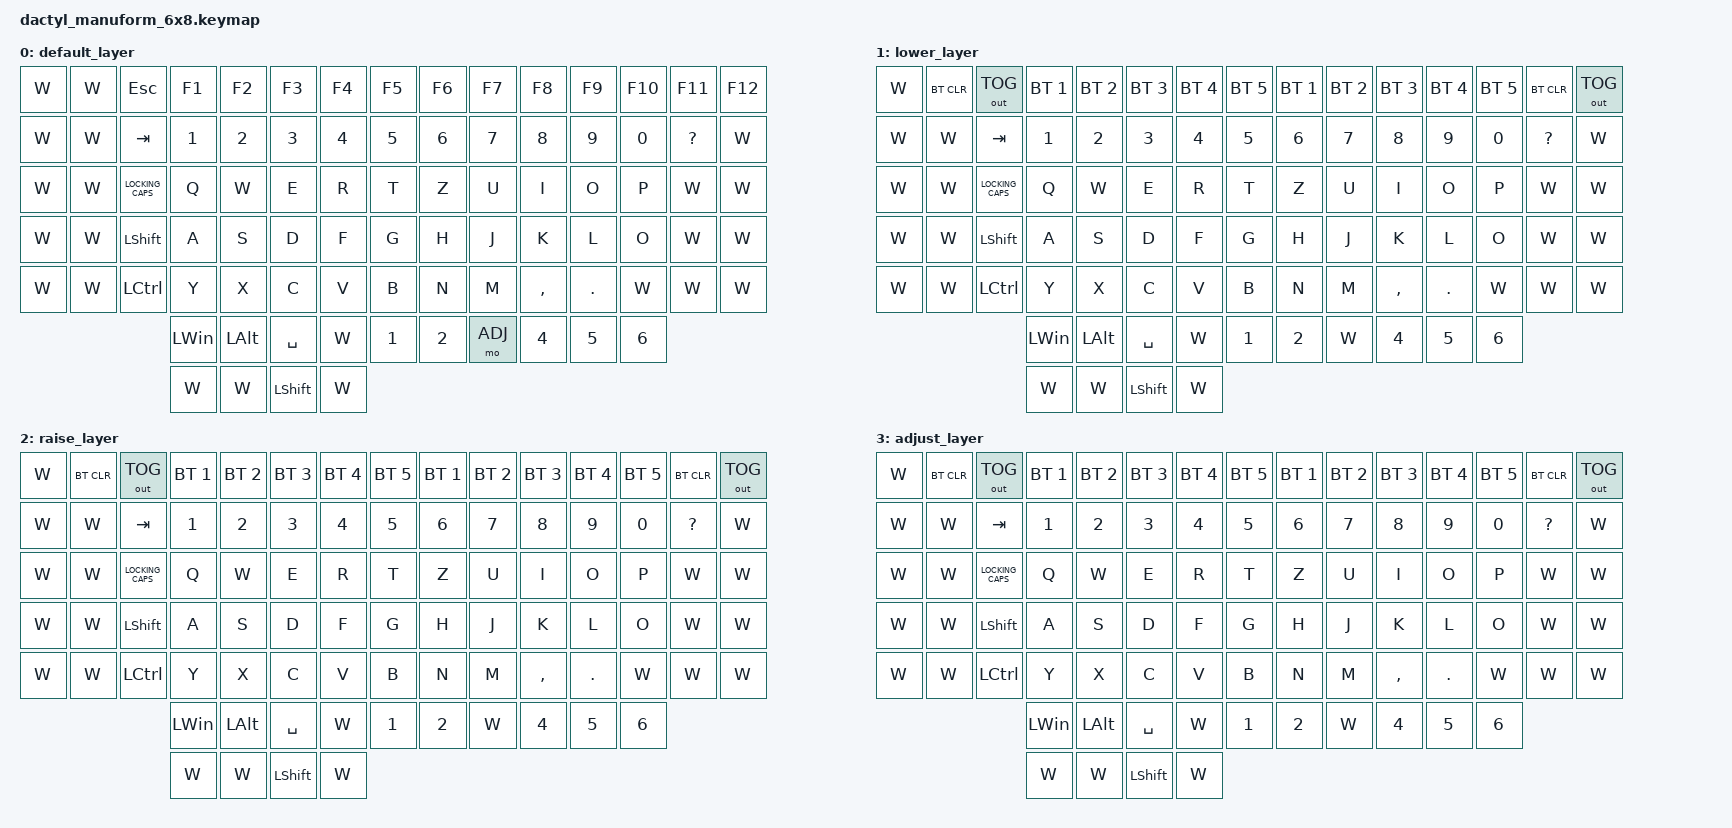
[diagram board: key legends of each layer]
#include <behaviors.dtsi>
#include <dt-bindings/zmk/keys.h>
#include <dt-bindings/zmk/bt.h>
#include <dt-bindings/zmk/outputs.h>

#define DEFAULT 0
#define LWR 1
#define RSE 2
#define ADJ 3

/ {
    keymap {
        compatible = "zmk,keymap";

        default_layer {
            bindings = <
				&kp W           &kp W 		    &kp ESC				&kp F1 		    &kp F2 		    &kp F3 		    &kp F4 		    &kp F5             	&kp F6	 	    &kp F7 		    &kp F8 		    &kp F9 		    &kp F10         &kp F11     &kp F12
				&kp W           &kp W 		    &kp TAB 			&kp N1 		    &kp N2 		    &kp N3 		    &kp N4 		    &kp N5             	&kp N6 		    &kp N7 		    &kp N8 		    &kp N9 		    &kp N0 		    &kp QMARK   &kp W
                &kp W           &kp W 		    &kp LOCKING_CAPS	&kp Q 		    &kp W 		    &kp E 		    &kp R 		    &kp T  	         	&kp Z 		    &kp U 		    &kp I 		    &kp O 		    &kp P 		    &kp W 		&kp W
                &kp W           &kp W 		    &kp LSHIFT			&kp A	 	    &kp S 		    &kp D 		    &kp F 		    &kp G            	&kp H 		    &kp J 		    &kp K  		    &kp L 		    &kp O 		    &kp W	 	&kp W
                &kp W           &kp W 		    &kp LCTRL			&kp Y 	 	    &kp X 		    &kp C		    &kp V	 	    &kp B            	&kp N 		    &kp M 		    &kp COMMA	    &kp DOT		    &kp W	 	    &kp W	 	&kp W
                                                                    &kp LWIN 	    &kp LALT 	    &kp SPACE 	    &kp W           &kp N1 		        &kp N2 		    &mo ADJ         &kp N4          &kp N5 		    &kp N6 
																	&kp W 		    &kp W	        &kp LSHIFT 	    &kp W        	 			    	 			
            >;
        };

        lower_layer {
            bindings = <
				&kp W           &bt BT_CLR      &out OUT_TOG        &bt BT_SEL 1    &bt BT_SEL 2    &bt BT_SEL 3    &bt BT_SEL 4    &bt BT_SEL 5        &bt BT_SEL 1    &bt BT_SEL 2    &bt BT_SEL 3    &bt BT_SEL 4    &bt BT_SEL 5    &bt BT_CLR  &out OUT_TOG
				&kp W           &kp W 		    &kp TAB 			&kp N1 		    &kp N2 		    &kp N3 		    &kp N4 		    &kp N5             	&kp N6 		    &kp N7 		    &kp N8 		    &kp N9 		    &kp N0 		    &kp QMARK   &kp W
                &kp W           &kp W 		    &kp LOCKING_CAPS	&kp Q 		    &kp W 		    &kp E 		    &kp R 		    &kp T  	         	&kp Z 		    &kp U 		    &kp I 		    &kp O 		    &kp P 		    &kp W 		&kp W
                &kp W           &kp W 		    &kp LSHIFT			&kp A	 	    &kp S 		    &kp D 		    &kp F 		    &kp G            	&kp H 		    &kp J 		    &kp K  		    &kp L 		    &kp O 		    &kp W	 	&kp W
                &kp W           &kp W 		    &kp LCTRL			&kp Y 	 	    &kp X 		    &kp C		    &kp V	 	    &kp B            	&kp N 		    &kp M 		    &kp COMMA	    &kp DOT		    &kp W	 	    &kp W	 	&kp W
                                                                    &kp LWIN 	    &kp LALT 	    &kp SPACE 	    &kp W           &kp N1 		        &kp N2 		    &kp W           &kp N4          &kp N5 		    &kp N6 
																	&kp W 		    &kp W	        &kp LSHIFT 	    &kp W                
            >;
        };

        raise_layer {
            bindings = <
				&kp W           &bt BT_CLR      &out OUT_TOG        &bt BT_SEL 1    &bt BT_SEL 2    &bt BT_SEL 3    &bt BT_SEL 4    &bt BT_SEL 5        &bt BT_SEL 1    &bt BT_SEL 2    &bt BT_SEL 3    &bt BT_SEL 4    &bt BT_SEL 5    &bt BT_CLR  &out OUT_TOG
				&kp W           &kp W 		    &kp TAB 			&kp N1 		    &kp N2 		    &kp N3 		    &kp N4 		    &kp N5             	&kp N6 		    &kp N7 		    &kp N8 		    &kp N9 		    &kp N0 		    &kp QMARK   &kp W
                &kp W           &kp W 		    &kp LOCKING_CAPS	&kp Q 		    &kp W 		    &kp E 		    &kp R 		    &kp T  	         	&kp Z 		    &kp U 		    &kp I 		    &kp O 		    &kp P 		    &kp W 		&kp W
                &kp W           &kp W 		    &kp LSHIFT			&kp A	 	    &kp S 		    &kp D 		    &kp F 		    &kp G            	&kp H 		    &kp J 		    &kp K  		    &kp L 		    &kp O 		    &kp W	 	&kp W
                &kp W           &kp W 		    &kp LCTRL			&kp Y 	 	    &kp X 		    &kp C		    &kp V	 	    &kp B            	&kp N 		    &kp M 		    &kp COMMA	    &kp DOT		    &kp W	 	    &kp W	 	&kp W
                                                                    &kp LWIN 	    &kp LALT 	    &kp SPACE 	    &kp W           &kp N1 		        &kp N2 		    &kp W           &kp N4          &kp N5 		    &kp N6 
																	&kp W 		    &kp W	        &kp LSHIFT 	    &kp W                
            >;
        };

        adjust_layer {
            bindings = <
				&kp W           &bt BT_CLR      &out OUT_TOG        &bt BT_SEL 1    &bt BT_SEL 2    &bt BT_SEL 3    &bt BT_SEL 4    &bt BT_SEL 5        &bt BT_SEL 1    &bt BT_SEL 2    &bt BT_SEL 3    &bt BT_SEL 4    &bt BT_SEL 5    &bt BT_CLR  &out OUT_TOG
				&kp W           &kp W 		    &kp TAB 			&kp N1 		    &kp N2 		    &kp N3 		    &kp N4 		    &kp N5             	&kp N6 		    &kp N7 		    &kp N8 		    &kp N9 		    &kp N0 		    &kp QMARK   &kp W
                &kp W           &kp W 		    &kp LOCKING_CAPS	&kp Q 		    &kp W 		    &kp E 		    &kp R 		    &kp T  	         	&kp Z 		    &kp U 		    &kp I 		    &kp O 		    &kp P 		    &kp W 		&kp W
                &kp W           &kp W 		    &kp LSHIFT			&kp A	 	    &kp S 		    &kp D 		    &kp F 		    &kp G            	&kp H 		    &kp J 		    &kp K  		    &kp L 		    &kp O 		    &kp W	 	&kp W
                &kp W           &kp W 		    &kp LCTRL			&kp Y 	 	    &kp X 		    &kp C		    &kp V	 	    &kp B            	&kp N 		    &kp M 		    &kp COMMA	    &kp DOT		    &kp W	 	    &kp W	 	&kp W
                                                                    &kp LWIN 	    &kp LALT 	    &kp SPACE 	    &kp W           &kp N1 		        &kp N2 		    &kp W           &kp N4          &kp N5 		    &kp N6 
																	&kp W 		    &kp W	        &kp LSHIFT 	    &kp W                       
            >;
        };
    };
};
